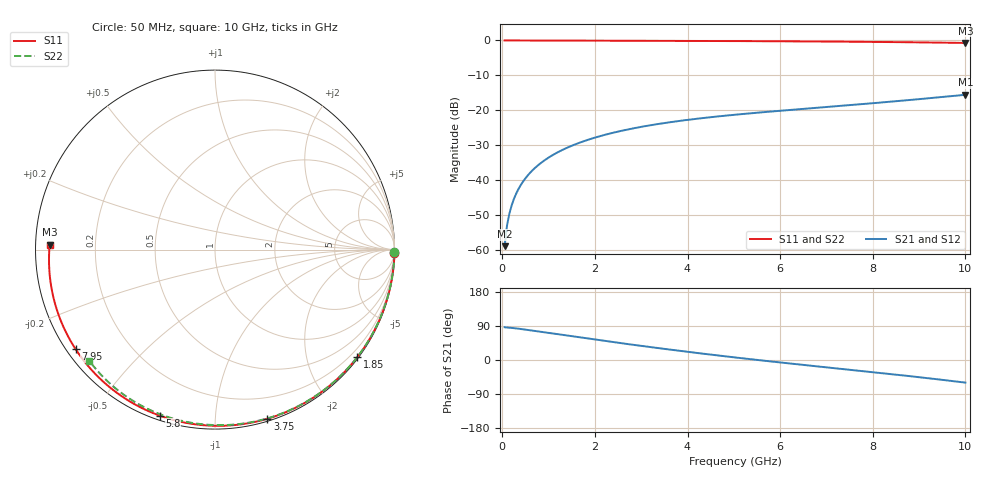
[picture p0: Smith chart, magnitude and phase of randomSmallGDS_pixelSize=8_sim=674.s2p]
! freq	dB(S11)	phase(S11)	dB(S12)	phase(S12)
!  dB(S21)	phase(S21)	dB(S22)	phase(S22)
!S-par simulation data
#  GHz  S  DB  R 50
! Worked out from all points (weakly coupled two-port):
!   200 points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, 50 MHz to 10 GHz, reference 50 ohm
!   highest |S21| = -15.58 dB at 10 GHz (marker M1); lowest = -59.0 dB at 50 MHz (marker M2)
!   lowest |S11| = -0.7 dB at 10 GHz (marker M3), VSWR 24.44, Z = 2.05 + j0.765 ohm
!   |S11| at or under -10 dB: nowhere
!   |S22| runs from -0.6 to 0.0 dB; largest |S21 - S12| = 0
!   S11 on the Smith chart (normalised r, x): 50 MHz: open; 1.85 GHz: 0.03, -2.98; 3.75 GHz: 0.02, -1.36; 5.8 GHz: 0.02, -0.72; 7.95 GHz: 0.03, -0.32; 10 GHz: 0.04, +0.02
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0.05  -0.00 -1.0  -59.00 86.5  -59.00 86.5  -0.00 -0.8
0.1  -0.00 -2.0  -53.25 85.7  -53.25 85.7  -0.00 -1.6
0.15  -0.00 -3.1  -49.84 85.3  -49.84 85.3  -0.00 -2.4
0.2  -0.00 -4.1  -47.39 84.8  -47.39 84.8  -0.00 -3.3
0.35  -0.01 -7.1  -42.59 82.6  -42.59 82.6  -0.00 -5.7
0.5  -0.01 -10.2  -39.52 80.2  -39.52 80.2  -0.01 -8.1
0.7  -0.02 -14.2  -36.63 76.7  -36.63 76.7  -0.01 -11.3
1  -0.03 -20.3  -33.59 71.5  -33.59 71.5  -0.02 -16.1
1.35  -0.04 -27.2  -31.07 65.3  -31.07 65.3  -0.03 -21.7
1.75  -0.05 -35.1  -28.94 58.3  -28.94 58.3  -0.04 -28.0
1.85  -0.05 -37.1  -28.49 56.6  -28.49 56.6  -0.04 -29.6
2.65  -0.08 -52.4  -25.69 43.0  -25.69 43.0  -0.07 -41.9
3.4  -0.10 -66.4  -23.89 30.9  -23.89 30.9  -0.09 -53.2
3.75  -0.12 -72.8  -23.21 25.4  -23.21 25.4  -0.10 -58.3
4.4  -0.15 -84.4  -22.15 15.7  -22.15 15.7  -0.12 -67.6
5.05  -0.18 -95.7  -21.27 6.4  -21.27 6.4  -0.15 -76.6
5.8  -0.22 -108.4  -20.39 -3.8  -20.39 -3.8  -0.18 -86.7
6.7  -0.28 -123.5  -19.41 -15.5  -19.41 -15.5  -0.23 -98.4
7.95  -0.41 -144.5  -18.06 -31.5  -18.06 -31.5  -0.33 -114.0
8.35  -0.45 -151.3  -17.60 -36.7  -17.60 -36.7  -0.37 -118.8
9.2  -0.57 -166.5  -16.59 -48.1  -16.59 -48.1  -0.47 -129.1
10  -0.71 178.2  -15.58 -59.7  -15.58 -59.7  -0.59 -138.6
